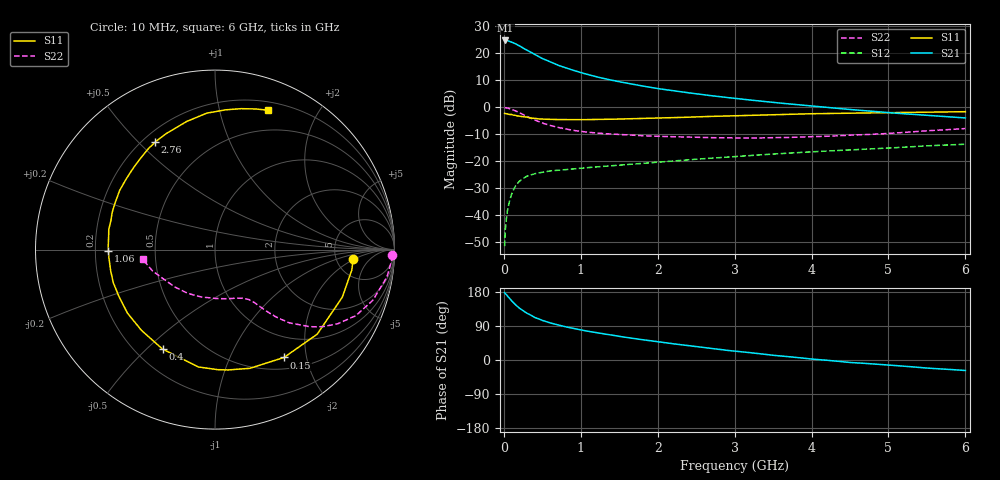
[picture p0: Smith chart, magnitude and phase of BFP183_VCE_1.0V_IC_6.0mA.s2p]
! Infineon Technologies  Discrete & RF Semiconductors
! BFP183
! VCE = 1.0 V,  IC =  6.0 mA
! Common Emitter S-Parameters:  Jan 2016
# GHz  S  MA  R  50
!  f  S11  S21  S12  S22
! GHz  MAG  ANG  MAG  ANG  MAG  ANG  MAG  ANG
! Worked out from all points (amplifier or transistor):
!   210 points, 10 MHz to 6 GHz, reference 50 ohm
!   highest |S21| = 24.8 dB at 20 MHz (marker M1)
!   |S21| within 3 dB of that: start of sweep to 262.1 MHz
!   unconditionally stable (mu >= 1): 1.351 GHz to end of sweep
!   at 185 MHz: K = 0.19, MSG = 25.5 dB, |S12| = -27.9 dB
!   at 1.52 GHz: K = 1.06, MAG = 13.9 dB, |S12| = -21.3 dB
!   at 6 GHz: K = 1.03, MAG = 3.8 dB, |S12| = -13.7 dB
!   S11 on the Smith chart (normalised r, x): 10 MHz: 7.20, -1.96; 150 MHz: 0.66, -1.62; 400 MHz: 0.31, -0.56; 1.06 GHz: 0.26, -0.01; 2.76 GHz: 0.25, +0.56; 6 GHz: 0.28, +1.41
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0.01  0.7714 -4.1  17.24 177.8  0.0027 87.7  0.989 -1.9
0.02  0.7706 -8.5  17.29 175.6  0.0055 81.9  0.9853 -3.7
0.05  0.7572 -20.5  17.15 167.9  0.013 82.3  0.9701 -9.1
0.1  0.7392 -39.6  16.18 156.6  0.0245 70.0  0.9237 -17.8
0.15  0.7134 -57.4  15.06 146.1  0.0348 62.0  0.8669 -25.1
0.2  0.6895 -73.6  13.89 137.1  0.0426 56.0  0.7993 -31.1
0.24  0.6744 -83.8  12.77 131.2  0.047 51.2  0.7474 -34.9
0.3  0.6604 -98.1  11.45 123.5  0.0533 46.3  0.6773 -39.3
0.4  0.6265 -117.8  9.549 112.4  0.0593 40.2  0.583 -44.5
0.5  0.6086 -132.3  8.017 104.5  0.0632 36.3  0.512 -47.6
0.6  0.6026 -144.0  6.952 98.0  0.0665 33.9  0.4626 -49.5
0.8  0.596 -161.9  5.401 87.7  0.0707 31.4  0.3988 -51.9
1.02  0.5928 -176.9  4.316 78.7  0.075 30.7  0.3564 -54.2
1.06  0.5935 -179.2  4.168 77.1  0.0761 30.8  0.3509 -54.6
1.3  0.6024 169.3  3.411 68.9  0.0809 30.8  0.3268 -57.3
1.5  0.6091 160.2  2.981 62.4  0.0854 31.1  0.3138 -59.7
2.02  0.6331 140.8  2.207 47.7  0.0976 31.8  0.2914 -68.6
2.76  0.6844 119.2  1.603 28.8  0.1167 30.6  0.2742 -85.8
3.1  0.7049 110.8  1.417 21.4  0.1256 29.6  0.2706 -95.2
4.1  0.7646 91.8  1.028 1.0  0.153 24.9  0.2891 -125.0
5.1  0.8014 78.4  0.779 -14.8  0.1798 19.9  0.336 -152.3
6  0.8314 69.1  0.637 -27.7  0.2077 12.5  0.4053 -172.2
